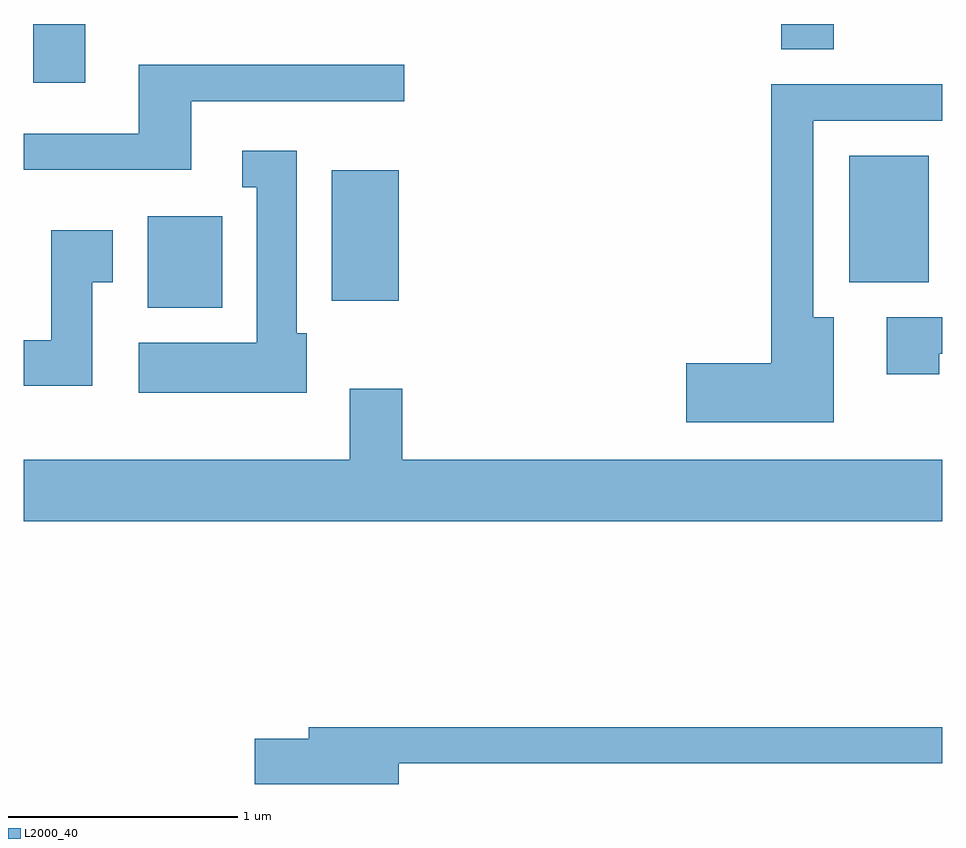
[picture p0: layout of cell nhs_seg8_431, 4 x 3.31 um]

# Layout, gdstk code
import gdstk
lib = gdstk.Library(unit=1e-6, precision=1e-09)
def R(c, l, rs):  # rectangles x0, y0, x1, y1
    for r in rs: c.add(gdstk.rectangle(r[:2], r[2:], *l))
def P(c, l, *ps):  # polygons
    for p in ps: c.add(gdstk.Polygon(p, *l))
L2000_40 = (2000, 40)

nhs_seg8_431 = lib.new_cell('nhs_seg8_431')
R(nhs_seg8_431, L2000_40, [(198.151,1855.106,198.474,1855.504), (198.951,1855.136,199.244,1855.704), (201.206,1855.216,201.554,1855.769), (197.651,1856.086,197.879,1856.342), (200.911,1856.231,201.139,1856.342)])
P(nhs_seg8_431, L2000_40, [(198.339,1856.006),(199.268,1856.006),(199.268,1856.164),(198.111,1856.164),(198.111,1855.864),(197.611,1855.864),(197.611,1855.706),(198.339,1855.706)],
  [(201.139,1855.064),(201.049,1855.064),(201.049,1855.921),(201.611,1855.921),(201.611,1856.079),(200.866,1856.079),(200.866,1854.864),(200.496,1854.864),(200.496,1854.606),(201.139,1854.606)],
  [(198.844,1854.994),(198.799,1854.994),(198.799,1855.789),(198.563,1855.789),(198.563,1855.631),(198.626,1855.631),(198.626,1854.954),(198.111,1854.954),(198.111,1854.736),(198.844,1854.736)],
  [(197.909,1855.216),(197.999,1855.216),(197.999,1855.444),(197.731,1855.444),(197.731,1854.964),(197.611,1854.964),(197.611,1854.766),(197.909,1854.766)],
  [(201.599,1854.906),(201.611,1854.906),(201.611,1855.064),(201.371,1855.064),(201.371,1854.816),(201.599,1854.816)],
  [(201.611,1854.444),(199.259,1854.444),(199.259,1854.754),(199.031,1854.754),(199.031,1854.444),(197.611,1854.444),(197.611,1854.176),(201.611,1854.176)],
  [(199.244,1853.121),(201.611,1853.121),(201.611,1853.279),(198.851,1853.279),(198.851,1853.229),(198.616,1853.229),(198.616,1853.031),(199.244,1853.031)])

lib.write_gds('nhs_seg8_431.gds')
